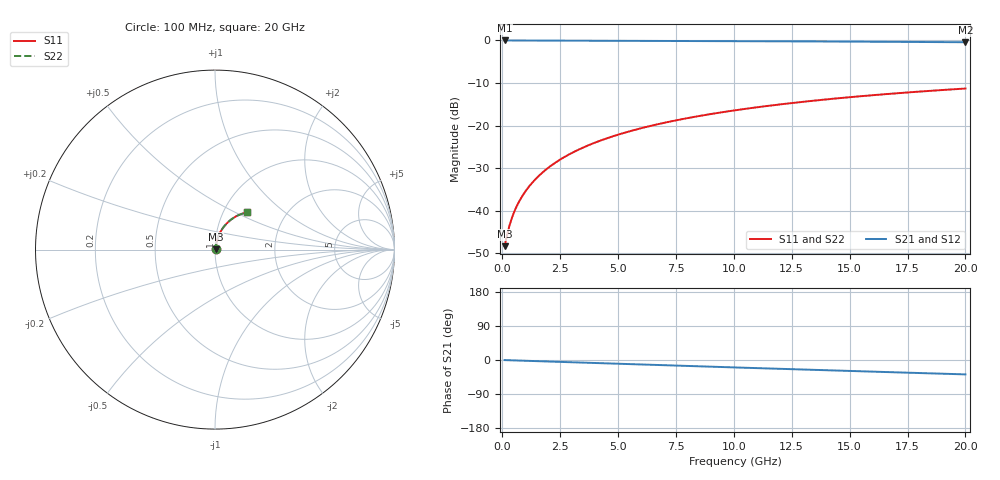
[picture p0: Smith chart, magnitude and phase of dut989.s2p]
! Touchstone file exported from HFSS 2026.1.0
!  File:  C:/ffzhzh/LocalFiles/Ansys_Project_Files/temp_train_TMRDL_989_1783159361_43440.aedt
!  Generated:  06:03:55 PM Jul  4, 2026
!  Design:  TMRDL
!  Project:  temp_train_TMRDL_989_1783159361_43440
! Variables:
!  h_bsmrdl = 2um
!  h_ox = 20um
!  h_rdl = 5um
!  h_sub = 80um
!  h_tmrdl = 3.01um
!  h_tsv = 80um
!  h_via = 3um
!  l_bsmrdl = 300um
!  l_sub = 996.33um
!  l_tmrdl = 596.33um
!  m_sub = 200um
!  pitch = 37.87um
!  r_tsv = 6um
!  s_tmrdl = 10um
!  w_bsmrdl = 18um
!  w_sub = 500um
!  w_tmrdl = 22.57um
!  x_tsv_center1 = 607.615um
!  x_tsv_center2 = 925.615um
!  x_tsv_center3 = 1544.515um
!  x_tsv_center4 = 1862.515um
!  x_tsv_center5 = 2481.415um
!  x_tsv_center6 = 2799.415um
# GHz S MA R 50.000000
! Terminal data exported
! Port[1] = TM_RDL1_1_T1
! Port[2] = TM_RDL1_1_T2
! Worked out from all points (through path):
!   200 points, 100 MHz to 20 GHz, reference 50 ohm
!   highest |S21| = -0.03 dB at 100 MHz (marker M1); lowest = -0.4 dB at 20 GHz (marker M2)
!   group delay of S21, straight-line fit = 5.27 ps
!   lowest |S11| = -48.3 dB at 100 MHz (marker M3), VSWR 1.01, Z = 50.3 + j0.188 ohm
!   |S11| at or under -10 dB: start of sweep to end of sweep
!   |S22| runs from -48.3 to -11.3 dB; largest |S21 - S12| = 2.6e-15
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0.1  0.003843 29.1  0.9966 -0.2  0.9966 -0.2  0.003843 29.1
! Gamma 0 0 0 0
! Port Impedance 50 0 50 0
0.2  0.005097 45.9  0.9965 -0.4  0.9965 -0.4  0.005097 45.9
0.3  0.006549 54.7  0.9963 -0.6  0.9963 -0.6  0.006549 54.7
0.4  0.008029 60.0  0.9961 -0.8  0.9961 -0.8  0.008029 60.0
0.5  0.009503 63.6  0.9959 -1.0  0.9959 -1.0  0.009503 63.6
0.6  0.01097 66.3  0.9958 -1.2  0.9958 -1.2  0.01097 66.3
0.8  0.01393 70.1  0.9955 -1.6  0.9955 -1.6  0.01393 70.1
1  0.01691 72.6  0.9954 -2.0  0.9954 -2.0  0.01691 72.6
1.2  0.01993 74.3  0.9952 -2.4  0.9952 -2.4  0.01993 74.3
1.4  0.02297 75.5  0.9951 -2.8  0.9951 -2.8  0.02297 75.5
1.7  0.02757 76.7  0.9949 -3.4  0.9949 -3.4  0.02757 76.7
2.2  0.03527 77.6  0.9945 -4.4  0.9945 -4.4  0.03527 77.6
2.8  0.04454 77.8  0.9939 -5.6  0.9939 -5.6  0.04454 77.8
3.5  0.05532 77.5  0.9931 -7.0  0.9931 -7.0  0.05532 77.5
4.2  0.06603 76.7  0.9922 -8.3  0.9922 -8.3  0.06604 76.7
5  0.07817 75.6  0.9909 -9.9  0.9909 -9.9  0.07817 75.6
6.8  0.1049 72.8  0.9875 -13.4  0.9875 -13.4  0.1049 72.8
8.3  0.1266 70.2  0.9841 -16.3  0.9841 -16.3  0.1266 70.1
10.1  0.1517 67.0  0.9797 -19.7  0.9797 -19.7  0.1517 67.0
13.4  0.1952 61.1  0.9705 -25.9  0.9705 -25.9  0.1952 61.1
16.7  0.2354 55.3  0.9606 -32.0  0.9606 -32.0  0.2354 55.2
20  0.2719 49.5  0.9501 -38.0  0.9501 -38.0  0.2719 49.5
